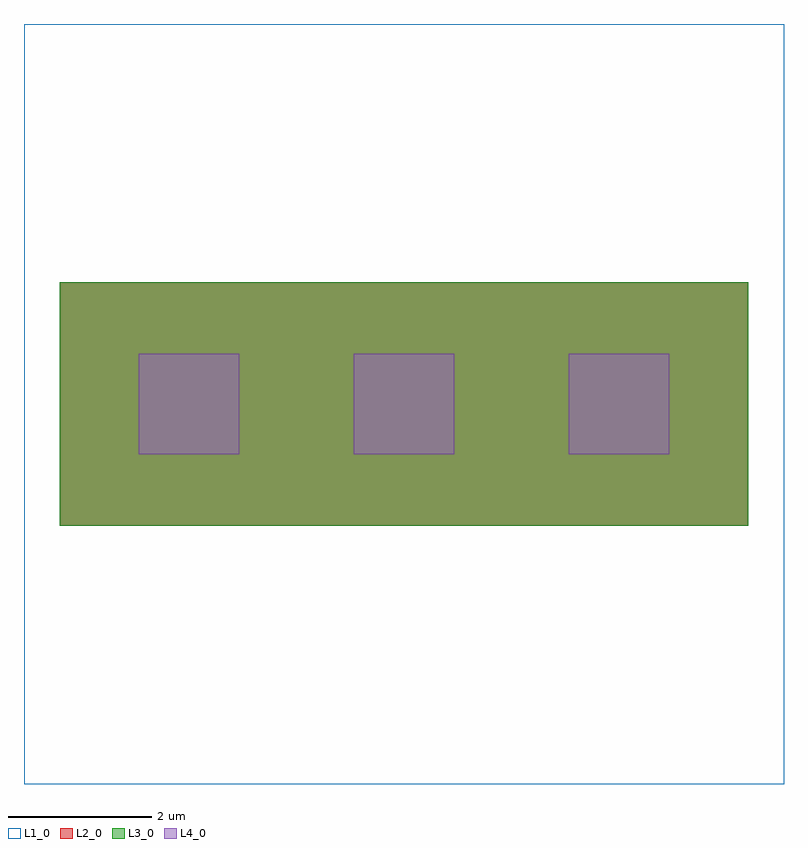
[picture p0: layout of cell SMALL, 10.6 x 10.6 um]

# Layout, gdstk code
import gdstk
lib = gdstk.Library(unit=1e-6, precision=1e-09)
def R(c, l, rs):  # rectangles x0, y0, x1, y1
    for r in rs: c.add(gdstk.rectangle(r[:2], r[2:], *l))
def A(c, l, x, y, w, h, nx, ny, dx, dy):  # array of equal rectangles
    R(c, l, [(x+i*dx, y+j*dy, x+i*dx+w, y+j*dy+h) for i in range(nx) for j in range(ny)])
L1_0 = (1, 0)
L2_0 = (2, 0)
L3_0 = (3, 0)
L4_0 = (4, 0)

via1_960x340 = lib.new_cell('via1_960x340')
R(via1_960x340, L2_0, [(-4.8,-1.7,4.8,1.7)])
R(via1_960x340, L3_0, [(-4.8,-1.7,4.8,1.7)])
A(via1_960x340, L4_0, -3.7, -0.7, 1.4, 1.4, 3, 1, 3, 0)

small = lib.new_cell('SMALL')
R(small, L1_0, [(-0.3,-0.3,10.3,10.3)])
small.add(gdstk.Reference(via1_960x340, (5,5)))

lib.write_gds('SMALL.gds')
